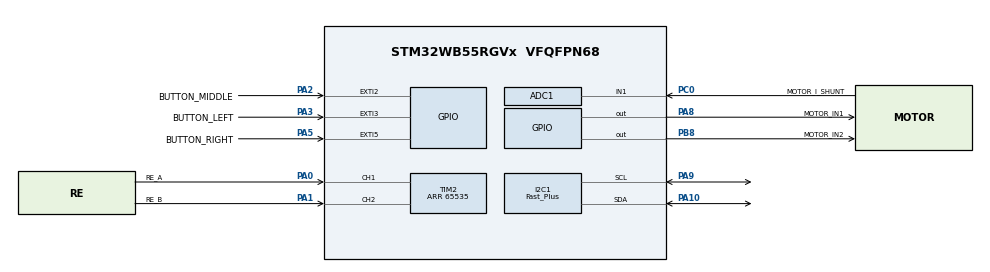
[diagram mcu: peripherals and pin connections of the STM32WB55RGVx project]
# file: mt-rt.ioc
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ADC1.Channel-1\#ChannelRegularConversion=ADC_CHANNEL_VREFINT
ADC1.Channel-2\#ChannelRegularConversion=ADC_CHANNEL_1
ADC1.Channel-3\#ChannelRegularConversion=ADC_CHANNEL_TEMPSENSOR
ADC1.Channel-4\#ChannelRegularConversion=ADC_CHANNEL_VBAT
ADC1.ClockPrescaler=ADC_CLOCK_ASYNC_DIV1
ADC1.ContinuousConvMode=ENABLE
ADC1.DMAContinuousRequests=ENABLE
ADC1.EOCSelection=ADC_EOC_SEQ_CONV
ADC1.LowPowerAutoWait=ENABLE
ADC1.NbrOfConversion=4
ADC1.NbrOfConversionFlag=1
ADC1.OffsetNumber-1\#ChannelRegularConversion=ADC_OFFSET_NONE
ADC1.OffsetNumber-2\#ChannelRegularConversion=ADC_OFFSET_NONE
ADC1.OffsetNumber-3\#ChannelRegularConversion=ADC_OFFSET_NONE
ADC1.OffsetNumber-4\#ChannelRegularConversion=ADC_OFFSET_NONE
ADC1.Overrun=ADC_OVR_DATA_PRESERVED
ADC1.OversamplingMode=ENABLE
ADC1.Rank-1\#ChannelRegularConversion=1
ADC1.Rank-2\#ChannelRegularConversion=2
ADC1.Rank-3\#ChannelRegularConversion=3
ADC1.Rank-4\#ChannelRegularConversion=4
ADC1.Ratio=ADC_OVERSAMPLING_RATIO_256
ADC1.RightBitShift=ADC_RIGHTBITSHIFT_8
ADC1.SamplingTime-1\#ChannelRegularConversion=ADC_SAMPLETIME_640CYCLES_5
ADC1.SamplingTime-2\#ChannelRegularConversion=ADC_SAMPLETIME_640CYCLES_5
ADC1.SamplingTime-3\#ChannelRegularConversion=ADC_SAMPLETIME_640CYCLES_5
ADC1.SamplingTime-4\#ChannelRegularConversion=ADC_SAMPLETIME_640CYCLES_5
ADC1.master=1
Dma.ADC1.0.Direction=DMA_PERIPH_TO_MEMORY
Dma.ADC1.0.EventEnable=DISABLE
Dma.ADC1.0.Instance=DMA1_Channel1
Dma.ADC1.0.MemDataAlignment=DMA_MDATAALIGN_HALFWORD
Dma.ADC1.0.MemInc=DMA_MINC_ENABLE
Dma.ADC1.0.Mode=DMA_CIRCULAR
Dma.ADC1.0.PeriphDataAlignment=DMA_PDATAALIGN_HALFWORD
Dma.ADC1.0.PeriphInc=DMA_PINC_DISABLE
Dma.ADC1.0.Polarity=HAL_DMAMUX_REQ_GEN_RISING
Dma.ADC1.0.Priority=DMA_PRIORITY_LOW
Dma.ADC1.0.RequestNumber=1
Dma.ADC1.0.SignalID=NONE
Dma.ADC1.0.SyncEnable=DISABLE
Dma.ADC1.0.SyncPolarity=HAL_DMAMUX_SYNC_NO_EVENT
Dma.ADC1.0.SyncRequestNumber=1
Dma.ADC1.0.SyncSignalID=NONE
Dma.Request0=ADC1
FREERTOS.Tasks01=defaultTask,24,1024,StartDefaultTask,Default,(void *)&defaultTaskArgs,Dynamic,NULL,NULL
FREERTOS.configMINIMAL_STACK_SIZE=1024
FREERTOS.configTOTAL_HEAP_SIZE=49152
FREERTOS.configUSE_NEWLIB_REENTRANT=1
I2C1.I2C_Speed_Mode=I2C_Fast_Plus
I2C1.Timing=0x0040040C
Mcu.Family=STM32WB
Mcu.Name=STM32WB55RGVx
Mcu.Package=VFQFPN68
NVIC.DMA1_Channel1_IRQn=true\:5\:0\:false\:false\:true\:true\:false\:true\:true
NVIC.EXTI0_IRQn=true\:5\:0\:false\:false\:true\:true\:false\:true\:true
NVIC.EXTI1_IRQn=true\:5\:0\:false\:false\:true\:true\:false\:true\:true
NVIC.EXTI2_IRQn=true\:5\:0\:false\:false\:true\:true\:true\:true\:true
NVIC.EXTI3_IRQn=true\:5\:0\:false\:false\:true\:true\:true\:true\:true
NVIC.EXTI9_5_IRQn=true\:5\:0\:false\:false\:true\:true\:true\:true\:true
NVIC.PriorityGroup=NVIC_PRIORITYGROUP_4
NVIC.TIM1_TRG_COM_TIM17_IRQn=true\:15\:0\:false\:false\:true\:false\:false\:true\:true
NVIC.TimeBase=TIM1_TRG_COM_TIM17_IRQn
NVIC.TimeBaseIP=TIM17
OSC_IN.GPIO_Label=RCC_OSC_IN
OSC_IN.Signal=RCC_OSC_IN
OSC_OUT.GPIO_Label=RCC_OSC_OUT
OSC_OUT.Signal=RCC_OSC_OUT
P-NUCLEO-WB55-NUCLEO.BUTTON=1
P-NUCLEO-WB55-NUCLEO.BUTTON2=1
P-NUCLEO-WB55-NUCLEO.BUTTON3=1
P-NUCLEO-WB55-NUCLEO.LD1=true
P-NUCLEO-WB55-NUCLEO.LD2=true
P-NUCLEO-WB55-NUCLEO.LD3=true
P-NUCLEO-WB55-NUCLEO.VCP=true
PA0.GPIO_Label=RE_A
PA0.Signal=S_TIM2_CH1
PA1.GPIO_Label=RE_B
PA1.Signal=S_TIM2_CH2
PA10.Mode=I2C
PA10.Signal=I2C1_SDA
PA11.GPIO_Label=USB_DM
PA11.Signal=USB_DM
PA12.GPIO_Label=USB_DP
PA12.Signal=USB_DP
PA13.GPIO_Label=JTMS
PA13.Signal=SYS_JTMS-SWDIO
PA14.GPIO_Label=JTCK
PA14.Signal=SYS_JTCK-SWCLK
PA2.GPIO_Label=BUTTON_MIDDLE
PA2.GPIO_ModeDefaultEXTI=GPIO_MODE_IT_RISING_FALLING
PA2.GPIO_PuPd=GPIO_PULLUP
PA2.Signal=GPXTI2
PA3.GPIO_Label=BUTTON_LEFT
PA3.GPIO_ModeDefaultEXTI=GPIO_MODE_IT_RISING_FALLING
PA3.GPIO_PuPd=GPIO_PULLDOWN
PA3.Signal=GPXTI3
PA5.GPIO_Label=BUTTON_RIGHT
PA5.GPIO_ModeDefaultEXTI=GPIO_MODE_IT_RISING_FALLING
PA5.GPIO_PuPd=GPIO_PULLDOWN
PA5.Signal=GPXTI5
PA8.GPIO_Label=MOTOR_IN1
PA8.Signal=GPIO_Output
PA9.Mode=I2C
PA9.Signal=I2C1_SCL
PB3.GPIO_Label=JTDO
PB3.Signal=SYS_JTDO-SWO
PB8.GPIO_Label=MOTOR_IN2
PB8.Signal=GPIO_Output
PC0.GPIO_Label=MOTOR_I_SHUNT
PC0.Signal=ADCx_IN1
PC13.GPIO_Label=SYS_WKUP2
PC13.Signal=SYS_WKUP2
PC14-OSC32_IN.GPIO_Label=RCC_OSC32_IN
PC14-OSC32_IN.Signal=RCC_OSC32_IN
PC15-OSC32_OUT.GPIO_Label=RCC_OSC32_OUT
PC15-OSC32_OUT.Signal=RCC_OSC32_OUT
ProjectManager.HeapSize=0x200
ProjectManager.StackSize=0x400
ProjectManager.TargetToolchain=CMake
RCC.ADCCLockSelection=RCC_ADCCLKSOURCE_PLL
RCC.ADCFreq_Value=64000000
RCC.AHBFreq_Value=32000000
RCC.APB1Freq_Value=32000000
RCC.APB1TimFreq_Value=32000000
RCC.APB2Freq_Value=32000000
RCC.APB2TimFreq_Value=32000000
RCC.APB3Freq_Value=16000000
RCC.CortexFreq_Value=32000000
RCC.HCLKFreq_Value=32000000
RCC.HSE_VALUE=32000000
RCC.HSI48_VALUE=48000000
RCC.HSI_VALUE=16000000
RCC.LSE_VALUE=32768
RCC.MSIClockRange=RCC_MSIRANGE_10
RCC.PLLM=RCC_PLLM_DIV2
RCC.PLLSAI1N=6
RCC.SMPSCLockSelection=RCC_SMPSCLKSOURCE_HSI
RCC.SMPSCLockSelectionVirtual=RCC_SMPSCLKSOURCE_HSI
RCC.SMPSCLockSelectionVirtualVirtual=RCC_SMPSCLKSOURCE_HSI
RCC.SMPSDivider=1
RCC.SYSCLKFreq_VALUE=32000000
RCC.USBFreq_Value=48000000
RCC.VCOOutputFreq_Value=128000000
SH.ADCx_IN1.0=ADC1_IN1,IN1-Single-Ended
SH.S_TIM2_CH1.0=TIM2_CH1,Encoder_Interface
SH.S_TIM2_CH2.0=TIM2_CH2,Encoder_Interface
TIM2.EncoderMode=TIM_ENCODERMODE_TI12
TIM2.IC1Filter=15
TIM2.IC1Polarity=TIM_ICPOLARITY_FALLING
TIM2.IC2Filter=15
TIM2.IC2Polarity=TIM_ICPOLARITY_FALLING
TIM2.Period=65535
VP_ADC1_TempSens_Input.Mode=IN-TempSens
VP_ADC1_Vbat_Input.Mode=IN-Vbat
VP_ADC1_Vref_Input.Mode=IN-Vrefint
VP_FREERTOS_VS_CMSIS_V2.Mode=CMSIS_V2
VP_MEMORYMAP_VS_MEMORYMAP.Mode=CurAppReg
VP_P-NUCLEO-WB55-NUCLEO_VS_BSP_COMMON.Mode=COMMON
VP_RTC_VS_RTC_Activate.Mode=RTC_Enabled
VP_SYS_VS_tim17.Mode=TIM17
VREF+.Mode=InternalMode
VREF+.Signal=VREFBUF_OUT
board=P-NUCLEO-WB55-NUCLEO

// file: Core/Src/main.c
/* USER CODE BEGIN Header */
/**
 ******************************************************************************
 * @file           : main.c
 * @brief          : Main program body
 ******************************************************************************
 * @attention
 *
 * Copyright (c) 2025 STMicroelectronics.
 * All rights reserved.
 *
 * This software is licensed under terms that can be found in the LICENSE file
 * in the root directory of this software component.
 * If no LICENSE file comes with this software, it is provided AS-IS.
 *
 ******************************************************************************
 */
/* USER CODE END Header */
#include "main.h"
#include "cmsis_os2.h"
#include "FreeRTOS.h"

/* USER CODE BEGIN Includes */
#include "input_task.h"
#include "lvgl_port_display.h"
#include "maintenance_task.h"
#include "motor.h"
#include "sensor_task.h"
#include "storage_task.h"
#include "system_task.h"
#include "view_presenter_task.h"

/* USER CODE END Includes */

COM_InitTypeDef BspCOMInit;
ADC_HandleTypeDef hadc1;
DMA_HandleTypeDef hdma_adc1;

I2C_HandleTypeDef hi2c1;

RTC_HandleTypeDef hrtc;

TIM_HandleTypeDef htim2;

/* Definitions for defaultTask */
osThreadId_t defaultTaskHandle;
const osThreadAttr_t defaultTask_attributes = {
  .name = "defaultTask",
  .priority = (osPriority_t) osPriorityNormal,
  .stack_size = 1024 * 4
};
/* USER CODE BEGIN PV */
/* Definitions for LVGLTask */
osThreadId_t lvglTaskHandle;
const osThreadAttr_t lvglTask_attributes = {.name = "lvglTask",
                                            .priority =
                                                (osPriority_t)osPriorityHigh1,
                                            .stack_size = LVGL_TASK_STACK_SIZE};

/* Definitions for InputTask */
osThreadId_t inputTaskHandle;
const osThreadAttr_t inputTask_attributes = {
    .name = "inputTask",
    .priority = (osPriority_t)osPriorityHigh2,
    .stack_size = INPUT_TASK_STACK_SIZE};

/* Definitions for SensorTask */
osThreadId_t sensorTaskHandle;
const osThreadAttr_t sensorTask_attributes = {
    .name = "sensorTask",
    .priority = (osPriority_t)osPriorityHigh3,
    .stack_size = SENSOR_TASK_STACK_SIZE};

/* Definitions for StorageTask */
osThreadId_t storageTaskHandle;
const osThreadAttr_t storageTask_attributes = {
    .name = "storageTask",
    .priority = (osPriority_t)osPriorityLow,
    .stack_size = STORAGE_TASK_STACK_SIZE};

/* Storage event queue */
osMessageQueueId_t storage2SystemEventQueueHandle;

/* System -> Storage queue */
osMessageQueueId_t system2StorageEventQueueHandle;

/* Input to ViewPresenter event queue */
osMessageQueueId_t input2VPEventQueueHandle;

/* ViewPresenter -> System queue */
osMessageQueueId_t vp2SystemEventQueueHandle;

#if !TESTS
/*Definitions for ViewPresenterTask*/
osThreadId_t viewPresenterTaskHandle;
const osThreadAttr_t viewPresenterTask_attributes = {
    .name = "viewPresenterTask",
    .priority = (osPriority_t)osPriorityNormal3,
    .stack_size = VP_TASK_STACK_SIZE};

/* Definitions for SystemTask */
osThreadId_t systemTaskHandle;
const osThreadAttr_t systemTask_attributes = {
    .name = "systemTask",
    .priority = (osPriority_t)osPriorityNormal1,
    .stack_size = SYSTEM_TASK_STACK_SIZE};

/* Definitions for MaintTask */
osThreadId_t maintenanceTaskHandle;
const osThreadAttr_t maintenanceTask_attributes = {
    .name = "maintenanceTask",
    .priority = (osPriority_t)osPriorityNormal2,
    .stack_size = MAINT_TASK_STACK_SIZE};

/* System -> ViewPresenter queue */
osMessageQueueId_t system2VPEventQueueHandle;

/* System <-> Maint queues */
osMessageQueueId_t system2MaintEventQueueHandle;
osMessageQueueId_t maint2SystemEventQueueHandle;
#endif
/* USER CODE END PV */

void SystemClock_Config(void);
void PeriphCommonClock_Config(void);
static void MX_GPIO_Init(void);
static void MX_DMA_Init(void);
static void MX_I2C1_Init(void);
static void MX_TIM2_Init(void);
static void MX_ADC1_Init(void);
static void MX_RTC_Init(void);
void StartDefaultTask(void *argument);

/* USER CODE BEGIN 0 */
/* Display functions moved to `Drivers/lvgl_port_display`.
 * Use `display_system_init()` to initialize the display and LVGL.
 */
#if OS_TASKS_DEBUG
static void DebugReportTaskCreation(const char *name, osThreadId_t handle) {
  printf("%s creation %s handle=%p\n", name, handle ? "succeeded" : "FAILED",
         (void *)handle);

#if ERROR_HANDLER_ON_TASK_CREATION_FAILURE
  if (handle == NULL) {
    Error_Handler();
  }
#endif
}
#endif
/* USER CODE END 0 */

int main(void)
{

  /* MCU Configuration--------------------------------------------------------*/

  /* Reset of all peripherals, Initializes the Flash interface and the Systick. */
  HAL_Init();

  /* USER CODE BEGIN Init */
  static DefaultTaskArgsTypeDef defaultTaskArgs = {
      .storage2system_event_queue = NULL,
      .input2vp_event_queue = NULL,
      .config_model = NULL,
      .sensor_model = NULL};
  static StorageTaskArgsTypeDef storageTaskArgs = {
      .storage2system_event_queue = NULL, .config_model = NULL};
  static SensorTaskArgsTypeDef sensorTaskArgs = {.config_model = NULL,
                                                 .sensor_model = NULL};
  static InputTaskArgsTypeDef inputTaskArgs = {.input2vp_event_queue = NULL};
#if !TESTS
  static ViewPresenterTaskArgsTypeDef viewPresenterTaskArgs = {
      .input2vp_event_queue = NULL,
      .vp2system_event_queue = NULL,
      .system2vp_event_queue = NULL,
      .system_model = NULL};
  static SystemTaskArgsTypeDef systemTaskArgs = {.vp2system_event_queue = NULL,
                                                 .system2vp_event_queue = NULL,
                                                 .system2maint_event_queue = NULL,
                                                 .maint2system_event_queue = NULL,
                                                 .system_model = NULL};
  static MaintenanceTaskArgsTypeDef maintenanceTaskArgs = {
      .system2maint_event_queue = NULL, .maint2system_event_queue = NULL};
#endif
  /* USER CODE END Init */

  /* Configure the system clock */
  SystemClock_Config();

  /* Configure the peripherals common clocks */
  PeriphCommonClock_Config();

  /* Initialize all configured peripherals */
  MX_GPIO_Init();
  MX_DMA_Init();
  MX_I2C1_Init();
  MX_TIM2_Init();
  MX_ADC1_Init();
  MX_RTC_Init();
  /* USER CODE BEGIN 2 */
  display_system_init();
  Motor_Init();
  /* Initializations moved to according tasks to avoid issues before scheduler
   * starts */
  /* USER CODE END 2 */

  /* Init scheduler */
  osKernelInitialize();

  /* USER CODE BEGIN RTOS_MUTEX */
  /* Create config access structure with mutex */
  static ConfigModel_t configModel = {
      .mutex = NULL, .data = {.temperature_offset = 0.0f}};
  const osMutexAttr_t configMutexAttr = {
      .name = "ConfigMutex",
      .attr_bits = osMutexPrioInherit,
  };
  configModel.mutex = osMutexNew(&configMutexAttr);
  if (configModel.mutex == NULL) {
    Error_Handler();
  }
  defaultTaskArgs.config_model = &configModel;
  storageTaskArgs.config_model = &configModel;
  sensorTaskArgs.config_model = &configModel;

  /* Create sensor values access structure with mutex */
  static SensorModel_t sensorModel = {
      .mutex = NULL,
      .data = {.ambient_temperature = 0.0f,
               .soc = 0,
#if DRIVER_TEST
               .battery_voltage = 0.0f,
#endif
               .motor_current = 0.0f}};
  const osMutexAttr_t sensorValuesMutexAttr = {
      .name = "SensorValuesMutex",
      .attr_bits = osMutexPrioInherit,
  };
  sensorModel.mutex = osMutexNew(&sensorValuesMutexAttr);
  if (sensorModel.mutex == NULL) {
    Error_Handler();
  }
  defaultTaskArgs.sensor_model = &sensorModel;
  sensorTaskArgs.sensor_model = &sensorModel;

#if !TESTS
  static SystemModel_t systemModel = {
      .mutex = NULL,
      .data = {.state = STATE_INIT,
               .mode = MODE_AUTO,
               .mode_before_boost = MODE_AUTO,
               .boost_begin_time = 0,
               .adapt_result = -1}};

  /* Create system context mutex */
  const osMutexAttr_t sysCtxMutexAttr = {
      .name = "SysCtxMutex",
      .attr_bits = osMutexPrioInherit,
  };
  systemModel.mutex = osMutexNew(&sysCtxMutexAttr);
  if (systemModel.mutex == NULL) {
    Error_Handler();
  }
  systemTaskArgs.system_model = &systemModel;
  viewPresenterTaskArgs.system_model = &systemModel;
#endif

  /* USER CODE END RTOS_MUTEX */

  /* USER CODE BEGIN RTOS_QUEUES */
  /* Create storage event queue */
  storage2SystemEventQueueHandle =
      osMessageQueueNew(4, sizeof(Storage2SystemEventTypeDef), NULL);
  if (storage2SystemEventQueueHandle == NULL) {
    Error_Handler();
  }
  defaultTaskArgs.storage2system_event_queue = storage2SystemEventQueueHandle;
  storageTaskArgs.storage2system_event_queue = storage2SystemEventQueueHandle;

  /* Create System -> Storage event queue */
  system2StorageEventQueueHandle =
      osMessageQueueNew(4U, sizeof(System2StorageEventTypeDef), NULL);
  if (system2StorageEventQueueHandle == NULL) {
    Error_Handler();
  }
  storageTaskArgs.system2storage_event_queue = system2StorageEventQueueHandle;

  /* Create input to ViewPresenter event queue */
  input2VPEventQueueHandle =
      osMessageQueueNew(8U, sizeof(Input2VPEvent_t), NULL);
  if (input2VPEventQueueHandle == NULL) {
    Error_Handler();
  }
  defaultTaskArgs.input2vp_event_queue = input2VPEventQueueHandle;
  inputTaskArgs.input2vp_event_queue = input2VPEventQueueHandle;
#if !TESTS
  viewPresenterTaskArgs.input2vp_event_queue = input2VPEventQueueHandle;
  /* Create ViewPresenter -> System event queue */
  vp2SystemEventQueueHandle =
      osMessageQueueNew(4U, sizeof(VP2SystemEventTypeDef), NULL);
  if (vp2SystemEventQueueHandle == NULL) {
    Error_Handler();
  }
  systemTaskArgs.vp2system_event_queue = vp2SystemEventQueueHandle;
  viewPresenterTaskArgs.vp2system_event_queue = vp2SystemEventQueueHandle;

  /* Create System -> ViewPresenter event queue */
  system2VPEventQueueHandle =
      osMessageQueueNew(2U, sizeof(System2VPEventTypeDef), NULL);
  if (system2VPEventQueueHandle == NULL) {
    Error_Handler();
  }
  systemTaskArgs.system2vp_event_queue = system2VPEventQueueHandle;
  viewPresenterTaskArgs.system2vp_event_queue = system2VPEventQueueHandle;
  viewPresenterTaskArgs.config_model = &configModel;
  viewPresenterTaskArgs.sensor_model = &sensorModel;
  systemTaskArgs.config_model = &configModel;

  /* Create System <-> Maint queues */
  system2MaintEventQueueHandle =
      osMessageQueueNew(4U, sizeof(System2MaintEventTypeDef), NULL);
  if (system2MaintEventQueueHandle == NULL) {
    Error_Handler();
  }
  systemTaskArgs.system2maint_event_queue = system2MaintEventQueueHandle;
  maintenanceTaskArgs.system2maint_event_queue = system2MaintEventQueueHandle;

  maint2SystemEventQueueHandle =
      osMessageQueueNew(4U, sizeof(Maint2SystemEventTypeDef), NULL);
  if (maint2SystemEventQueueHandle == NULL) {
    Error_Handler();
  }
  systemTaskArgs.maint2system_event_queue = maint2SystemEventQueueHandle;
  maintenanceTaskArgs.maint2system_event_queue = maint2SystemEventQueueHandle;

  systemTaskArgs.system2storage_event_queue = system2StorageEventQueueHandle;
#endif
  /* USER CODE END RTOS_QUEUES */

  /* Create the thread(s) */
  /* creation of defaultTask */
  defaultTaskHandle = osThreadNew(StartDefaultTask, (void *)&defaultTaskArgs, &defaultTask_attributes);

  /* USER CODE BEGIN RTOS_THREADS */
  lvglTaskHandle = osThreadNew(StartLVGLTask, NULL, &lvglTask_attributes);
  sensorTaskHandle = osThreadNew(StartSensorTask, (void *)&sensorTaskArgs,
                                 &sensorTask_attributes);
  storageTaskHandle = osThreadNew(StartStorageTask, (void *)&storageTaskArgs,
                                  &storageTask_attributes);
  inputTaskHandle = osThreadNew(StartInputTask, (void *)&inputTaskArgs,
                                &inputTask_attributes);
#if !TESTS
  viewPresenterTaskHandle =
      osThreadNew(StartViewPresenterTask, (void *)&viewPresenterTaskArgs,
                  &viewPresenterTask_attributes);
  systemTaskHandle = osThreadNew(StartSystemTask, (void *)&systemTaskArgs,
                                 &systemTask_attributes);
  maintenanceTaskHandle =
      osThreadNew(StartMaintenanceTask, (void *)&maintenanceTaskArgs,
                  &maintenanceTask_attributes);
#endif
  /* USER CODE END RTOS_THREADS */

  /* Initialize leds */
  BSP_LED_Init(LED_BLUE);
  BSP_LED_Init(LED_GREEN);
  BSP_LED_Init(LED_RED);

  /* Initialize USER push-button, will be used to trigger an interrupt each time it's pressed.*/
  BSP_PB_Init(BUTTON_SW1, BUTTON_MODE_EXTI);
  BSP_PB_Init(BUTTON_SW2, BUTTON_MODE_EXTI);
  BSP_PB_Init(BUTTON_SW3, BUTTON_MODE_EXTI);

  /* Initialize COM1 port (115200, 8 bits (7-bit data + 1 stop bit), no parity */
  BspCOMInit.BaudRate   = 115200;
  BspCOMInit.WordLength = COM_WORDLENGTH_8B;
  BspCOMInit.StopBits   = COM_STOPBITS_1;
  BspCOMInit.Parity     = COM_PARITY_NONE;
  BspCOMInit.HwFlowCtl  = COM_HWCONTROL_NONE;
  if (BSP_COM_Init(COM1, &BspCOMInit) != BSP_ERROR_NONE)
  {
    Error_Handler();
  }
  BSP_COM_SelectLogPort(COM1);

#if OS_TASKS_DEBUG
  DebugReportTaskCreation("lvglTask", lvglTaskHandle);
  DebugReportTaskCreation("lvglTask", lvglTaskHandle);
  DebugReportTaskCreation("sensorTask", sensorTaskHandle);
  DebugReportTaskCreation("inputTask", inputTaskHandle);
#if !TESTS
  DebugReportTaskCreation("viewPresenterTask", viewPresenterTaskHandle);
  DebugReportTaskCreation("systemTask", systemTaskHandle);
  DebugReportTaskCreation("maintenanceTask", maintenanceTaskHandle);
#endif
#endif

  printf("Maininit completed. Starting scheduler...\n");

  /* Start scheduler */
  osKernelStart();

  /* We should never get here as control is now taken by the scheduler */

  /* Infinite loop */
  /* USER CODE BEGIN WHILE */
  while (0) {
    /* USER CODE END WHILE */

  }
}

void SystemClock_Config(void)
{
  RCC_OscInitTypeDef RCC_OscInitStruct = {0};
  RCC_ClkInitTypeDef RCC_ClkInitStruct = {0};

  /** Configure the main internal regulator output voltage
  */
  __HAL_PWR_VOLTAGESCALING_CONFIG(PWR_REGULATOR_VOLTAGE_SCALE1);

  /** Initializes the RCC Oscillators according to the specified parameters
  * in the RCC_OscInitTypeDef structure.
  */
  RCC_OscInitStruct.OscillatorType = RCC_OSCILLATORTYPE_HSI|RCC_OSCILLATORTYPE_LSI1
                              |RCC_OSCILLATORTYPE_MSI;
  RCC_OscInitStruct.HSIState = RCC_HSI_ON;
  RCC_OscInitStruct.MSIState = RCC_MSI_ON;
  RCC_OscInitStruct.HSICalibrationValue = RCC_HSICALIBRATION_DEFAULT;
  RCC_OscInitStruct.MSICalibrationValue = RCC_MSICALIBRATION_DEFAULT;
  RCC_OscInitStruct.MSIClockRange = RCC_MSIRANGE_10;
  RCC_OscInitStruct.LSIState = RCC_LSI_ON;
  RCC_OscInitStruct.PLL.PLLState = RCC_PLL_ON;
  RCC_OscInitStruct.PLL.PLLSource = RCC_PLLSOURCE_MSI;
  RCC_OscInitStruct.PLL.PLLM = RCC_PLLM_DIV2;
  RCC_OscInitStruct.PLL.PLLN = 8;
  RCC_OscInitStruct.PLL.PLLP = RCC_PLLP_DIV2;
  RCC_OscInitStruct.PLL.PLLR = RCC_PLLR_DIV2;
  RCC_OscInitStruct.PLL.PLLQ = RCC_PLLQ_DIV2;
  if (HAL_RCC_OscConfig(&RCC_OscInitStruct) != HAL_OK)
  {
    Error_Handler();
  }

  /** Configure the SYSCLKSource, HCLK, PCLK1 and PCLK2 clocks dividers
  */
  RCC_ClkInitStruct.ClockType = RCC_CLOCKTYPE_HCLK4|RCC_CLOCKTYPE_HCLK2
                              |RCC_CLOCKTYPE_HCLK|RCC_CLOCKTYPE_SYSCLK
                              |RCC_CLOCKTYPE_PCLK1|RCC_CLOCKTYPE_PCLK2;
  RCC_ClkInitStruct.SYSCLKSource = RCC_SYSCLKSOURCE_MSI;
  RCC_ClkInitStruct.AHBCLKDivider = RCC_SYSCLK_DIV1;
  RCC_ClkInitStruct.APB1CLKDivider = RCC_HCLK_DIV1;
  RCC_ClkInitStruct.APB2CLKDivider = RCC_HCLK_DIV1;
  RCC_ClkInitStruct.AHBCLK2Divider = RCC_SYSCLK_DIV1;
  RCC_ClkInitStruct.AHBCLK4Divider = RCC_SYSCLK_DIV1;

  if (HAL_RCC_ClockConfig(&RCC_ClkInitStruct, FLASH_LATENCY_1) != HAL_OK)
  {
    Error_Handler();
  }
}

void PeriphCommonClock_Config(void)
{
  RCC_PeriphCLKInitTypeDef PeriphClkInitStruct = {0};

  /** Initializes the peripherals clock
  */
  PeriphClkInitStruct.PeriphClockSelection = RCC_PERIPHCLK_SMPS;
  PeriphClkInitStruct.SmpsClockSelection = RCC_SMPSCLKSOURCE_HSI;
  PeriphClkInitStruct.SmpsDivSelection = RCC_SMPSCLKDIV_RANGE0;

  if (HAL_RCCEx_PeriphCLKConfig(&PeriphClkInitStruct) != HAL_OK)
  {
    Error_Handler();
  }
}

static void MX_ADC1_Init(void)
{

  ADC_ChannelConfTypeDef sConfig = {0};

  /* USER CODE BEGIN ADC1_Init 1 */
  /* ADC channels need the maximum sampling time.
   * Minimum measurement duration is 640.5/(64MHz/64) seconds with the current
   * ADC clock.
   */
  /* USER CODE END ADC1_Init 1 */

  /** Common config
  */
  hadc1.Instance = ADC1;
  hadc1.Init.ClockPrescaler = ADC_CLOCK_ASYNC_DIV1;
  hadc1.Init.Resolution = ADC_RESOLUTION_12B;
  hadc1.Init.DataAlign = ADC_DATAALIGN_RIGHT;
  hadc1.Init.ScanConvMode = ADC_SCAN_ENABLE;
  hadc1.Init.EOCSelection = ADC_EOC_SEQ_CONV;
  hadc1.Init.LowPowerAutoWait = ENABLE;
  hadc1.Init.ContinuousConvMode = ENABLE;
  hadc1.Init.NbrOfConversion = 4;
  hadc1.Init.DiscontinuousConvMode = DISABLE;
  hadc1.Init.ExternalTrigConv = ADC_SOFTWARE_START;
  hadc1.Init.ExternalTrigConvEdge = ADC_EXTERNALTRIGCONVEDGE_NONE;
  hadc1.Init.DMAContinuousRequests = ENABLE;
  hadc1.Init.Overrun = ADC_OVR_DATA_PRESERVED;
  hadc1.Init.OversamplingMode = ENABLE;
  hadc1.Init.Oversampling.Ratio = ADC_OVERSAMPLING_RATIO_256;
  hadc1.Init.Oversampling.RightBitShift = ADC_RIGHTBITSHIFT_8;
  hadc1.Init.Oversampling.TriggeredMode = ADC_TRIGGEREDMODE_SINGLE_TRIGGER;
  hadc1.Init.Oversampling.OversamplingStopReset = ADC_REGOVERSAMPLING_CONTINUED_MODE;
  if (HAL_ADC_Init(&hadc1) != HAL_OK)
  {
    Error_Handler();
  }

  /** Configure Regular Channel
  */
  sConfig.Channel = ADC_CHANNEL_VREFINT;
  sConfig.Rank = ADC_REGULAR_RANK_1;
  sConfig.SamplingTime = ADC_SAMPLETIME_640CYCLES_5;
  sConfig.SingleDiff = ADC_SINGLE_ENDED;
  sConfig.OffsetNumber = ADC_OFFSET_NONE;
  sConfig.Offset = 0;
  if (HAL_ADC_ConfigChannel(&hadc1, &sConfig) != HAL_OK)
  {
    Error_Handler();
  }

  /** Configure Regular Channel
  */
  sConfig.Channel = ADC_CHANNEL_1;
  sConfig.Rank = ADC_REGULAR_RANK_2;
  if (HAL_ADC_ConfigChannel(&hadc1, &sConfig) != HAL_OK)
  {
    Error_Handler();
  }

  /** Configure Regular Channel
  */
  sConfig.Channel = ADC_CHANNEL_TEMPSENSOR;
  sConfig.Rank = ADC_REGULAR_RANK_3;
  if (HAL_ADC_ConfigChannel(&hadc1, &sConfig) != HAL_OK)
  {
    Error_Handler();
  }

  /** Configure Regular Channel
  */
  sConfig.Channel = ADC_CHANNEL_VBAT;
  sConfig.Rank = ADC_REGULAR_RANK_4;
  if (HAL_ADC_ConfigChannel(&hadc1, &sConfig) != HAL_OK)
  {
    Error_Handler();
  }

}

static void MX_I2C1_Init(void)
{

  hi2c1.Instance = I2C1;
  hi2c1.Init.Timing = 0x0040040C;
  hi2c1.Init.OwnAddress1 = 0;
  hi2c1.Init.AddressingMode = I2C_ADDRESSINGMODE_7BIT;
  hi2c1.Init.DualAddressMode = I2C_DUALADDRESS_DISABLE;
  hi2c1.Init.OwnAddress2 = 0;
  hi2c1.Init.OwnAddress2Masks = I2C_OA2_NOMASK;
  hi2c1.Init.GeneralCallMode = I2C_GENERALCALL_DISABLE;
  hi2c1.Init.NoStretchMode = I2C_NOSTRETCH_DISABLE;
  if (HAL_I2C_Init(&hi2c1) != HAL_OK)
  {
    Error_Handler();
  }

  /** Configure Analogue filter
  */
  if (HAL_I2CEx_ConfigAnalogFilter(&hi2c1, I2C_ANALOGFILTER_ENABLE) != HAL_OK)
  {
    Error_Handler();
  }

  /** Configure Digital filter
  */
  if (HAL_I2CEx_ConfigDigitalFilter(&hi2c1, 0) != HAL_OK)
  {
    Error_Handler();
  }

  /** I2C Enable Fast Mode Plus
  */
  HAL_I2CEx_EnableFastModePlus(I2C_FASTMODEPLUS_I2C1);

}

static void MX_RTC_Init(void)
{

  /** Initialize RTC Only
  */
  hrtc.Instance = RTC;
  hrtc.Init.HourFormat = RTC_HOURFORMAT_24;
  hrtc.Init.AsynchPrediv = 127;
  hrtc.Init.SynchPrediv = 255;
  hrtc.Init.OutPut = RTC_OUTPUT_DISABLE;
  hrtc.Init.OutPutPolarity = RTC_OUTPUT_POLARITY_HIGH;
  hrtc.Init.OutPutType = RTC_OUTPUT_TYPE_OPENDRAIN;
  hrtc.Init.OutPutRemap = RTC_OUTPUT_REMAP_NONE;
  if (HAL_RTC_Init(&hrtc) != HAL_OK)
  {
    Error_Handler();
  }

}

static void MX_TIM2_Init(void)
{

  TIM_Encoder_InitTypeDef sConfig = {0};
  TIM_MasterConfigTypeDef sMasterConfig = {0};

  htim2.Instance = TIM2;
  htim2.Init.Prescaler = 0;
  htim2.Init.CounterMode = TIM_COUNTERMODE_UP;
  htim2.Init.Period = 65535;
  htim2.Init.ClockDivision = TIM_CLOCKDIVISION_DIV1;
  htim2.Init.AutoReloadPreload = TIM_AUTORELOAD_PRELOAD_DISABLE;
  sConfig.EncoderMode = TIM_ENCODERMODE_TI12;
  sConfig.IC1Polarity = TIM_ICPOLARITY_FALLING;
  sConfig.IC1Selection = TIM_ICSELECTION_DIRECTTI;
  sConfig.IC1Prescaler = TIM_ICPSC_DIV1;
  sConfig.IC1Filter = 15;
  sConfig.IC2Polarity = TIM_ICPOLARITY_FALLING;
  sConfig.IC2Selection = TIM_ICSELECTION_DIRECTTI;
  sConfig.IC2Prescaler = TIM_ICPSC_DIV1;
  sConfig.IC2Filter = 15;
  if (HAL_TIM_Encoder_Init(&htim2, &sConfig) != HAL_OK)
  {
    Error_Handler();
  }
  sMasterConfig.MasterOutputTrigger = TIM_TRGO_RESET;
  sMasterConfig.MasterSlaveMode = TIM_MASTERSLAVEMODE_DISABLE;
  if (HAL_TIMEx_MasterConfigSynchronization(&htim2, &sMasterConfig) != HAL_OK)
  {
    Error_Handler();
  }

}

static void MX_DMA_Init(void)
{

  /* DMA controller clock enable */
  __HAL_RCC_DMAMUX1_CLK_ENABLE();
  __HAL_RCC_DMA1_CLK_ENABLE();

  /* DMA interrupt init */
  /* DMA1_Channel1_IRQn interrupt configuration */
  HAL_NVIC_SetPriority(DMA1_Channel1_IRQn, 5, 0);
  HAL_NVIC_EnableIRQ(DMA1_Channel1_IRQn);

}

static void MX_GPIO_Init(void)
{
  GPIO_InitTypeDef GPIO_InitStruct = {0};

  /* GPIO Ports Clock Enable */
  __HAL_RCC_GPIOC_CLK_ENABLE();
  __HAL_RCC_GPIOB_CLK_ENABLE();
  __HAL_RCC_GPIOA_CLK_ENABLE();

  /*Configure GPIO pin Output Level */
  HAL_GPIO_WritePin(MOTOR_IN2_GPIO_Port, MOTOR_IN2_Pin, GPIO_PIN_RESET);

  /*Configure GPIO pin Output Level */
  HAL_GPIO_WritePin(MOTOR_IN1_GPIO_Port, MOTOR_IN1_Pin, GPIO_PIN_RESET);

  /*Configure GPIO pin : MOTOR_IN2_Pin */
  GPIO_InitStruct.Pin = MOTOR_IN2_Pin;
  GPIO_InitStruct.Mode = GPIO_MODE_OUTPUT_PP;
  GPIO_InitStruct.Pull = GPIO_NOPULL;
  GPIO_InitStruct.Speed = GPIO_SPEED_FREQ_LOW;
  HAL_GPIO_Init(MOTOR_IN2_GPIO_Port, &GPIO_InitStruct);

  /*Configure GPIO pin : BUTTON_MIDDLE_Pin */
  GPIO_InitStruct.Pin = BUTTON_MIDDLE_Pin;
  GPIO_InitStruct.Mode = GPIO_MODE_IT_RISING_FALLING;
  GPIO_InitStruct.Pull = GPIO_PULLUP;
  HAL_GPIO_Init(BUTTON_MIDDLE_GPIO_Port, &GPIO_InitStruct);

  /*Configure GPIO pins : BUTTON_LEFT_Pin BUTTON_RIGHT_Pin */
  GPIO_InitStruct.Pin = BUTTON_LEFT_Pin|BUTTON_RIGHT_Pin;
  GPIO_InitStruct.Mode = GPIO_MODE_IT_RISING_FALLING;
  GPIO_InitStruct.Pull = GPIO_PULLDOWN;
  HAL_GPIO_Init(GPIOA, &GPIO_InitStruct);

  /*Configure GPIO pin : MOTOR_IN1_Pin */
  GPIO_InitStruct.Pin = MOTOR_IN1_Pin;
  GPIO_InitStruct.Mode = GPIO_MODE_OUTPUT_PP;
  GPIO_InitStruct.Pull = GPIO_NOPULL;
  GPIO_InitStruct.Speed = GPIO_SPEED_FREQ_LOW;
  HAL_GPIO_Init(MOTOR_IN1_GPIO_Port, &GPIO_InitStruct);

  /*Configure GPIO pins : USB_DM_Pin USB_DP_Pin */
  GPIO_InitStruct.Pin = USB_DM_Pin|USB_DP_Pin;
  GPIO_InitStruct.Mode = GPIO_MODE_AF_PP;
  GPIO_InitStruct.Pull = GPIO_NOPULL;
  GPIO_InitStruct.Speed = GPIO_SPEED_FREQ_LOW;
  GPIO_InitStruct.Alternate = GPIO_AF10_USB;
  HAL_GPIO_Init(GPIOA, &GPIO_InitStruct);

  /* EXTI interrupt init*/
  HAL_NVIC_SetPriority(EXTI2_IRQn, 5, 0);
  HAL_NVIC_EnableIRQ(EXTI2_IRQn);

  HAL_NVIC_SetPriority(EXTI3_IRQn, 5, 0);
  HAL_NVIC_EnableIRQ(EXTI3_IRQn);

  HAL_NVIC_SetPriority(EXTI9_5_IRQn, 5, 0);
  HAL_NVIC_EnableIRQ(EXTI9_5_IRQn);

}

/* USER CODE BEGIN 4 */
// Override the HAL_Delay to use it in ssd1306_Init() before the scheduler
// starts: The issue is that HAL_Delay relies on the HAL tick interrupt (TIM17)
// to increment uwTick. During initialization, before the scheduler starts or if
// interrupts  are not yet fully active/prioritized correctly, uwTick may not
// increment, causing HAL_Delay to hang in an infinite loop.
/**
 * @brief  This function provides minimum delay (in milliseconds) based
 *         on variable incremented.
 * @param  Delay  specifies the delay time length, in milliseconds.
 * @retval None
 */
void HAL_Delay(uint32_t Delay) {
  if (osKernelGetState() == osKernelRunning) {
    osDelay(Delay);
  } else {
    /* Busy wait */
    volatile uint32_t count = (SystemCoreClock / 4000) * Delay;
    while (count--) {
      __NOP();
    }
  }
}
/* USER CODE END 4 */

/* USER CODE BEGIN Header_StartDefaultTask */
/**
 * @brief  Function implementing the defaultTask thread.
 * @param  argument: Pointer to DefaultTaskArgsTypeDef containing task arguments
 * @retval None
 */
/* USER CODE END Header_StartDefaultTask */
void StartDefaultTask(void *argument)
{
  /* USER CODE BEGIN 5 */
#if TESTS
  DefaultTaskArgsTypeDef *args = (DefaultTaskArgsTypeDef *)argument;
#else
  (void)argument; /* Unused */
#endif

#if OS_TASKS_DEBUG
  printf("DefaultTask running (heap=%lu)\n",
         (unsigned long)xPortGetFreeHeapSize());
#endif

#if TESTS
#if DRIVER_TEST
  Driver_Test(args->storage2system_event_queue, args->input2vp_event_queue,
              args->config_model, args->sensor_model);
#elif ADAPTATION_TEST
  Adaptation_Test();
#endif
#else
  for (;;) {
    osDelay(pdMS_TO_TICKS(60000U));
  }
#endif
  /* USER CODE END 5 */
}

void HAL_TIM_PeriodElapsedCallback(TIM_HandleTypeDef *htim)
{
  if (htim->Instance == TIM17)
  {
    HAL_IncTick();
  }
  /* USER CODE BEGIN Callback 1 */
  lv_tick_inc(1);
  /* USER CODE END Callback 1 */
}

void Error_Handler(void)
{
  __disable_irq();
  while (1) {
  }
}
#ifdef USE_FULL_ASSERT
/**
  * @brief  Reports the name of the source file and the source line number
  *         where the assert_param error has occurred.
  * @param  file: pointer to the source file name
  * @param  line: assert_param error line source number
  * @retval None
  */
void assert_failed(uint8_t *file, uint32_t line)
{
  /* USER CODE BEGIN 6 */
  /* User can add his own implementation to report the file name and line
     number, ex: printf("Wrong parameters value: file %s on line %d\r\n", file,
     line) */
  /* USER CODE END 6 */
}
#endif /* USE_FULL_ASSERT */
